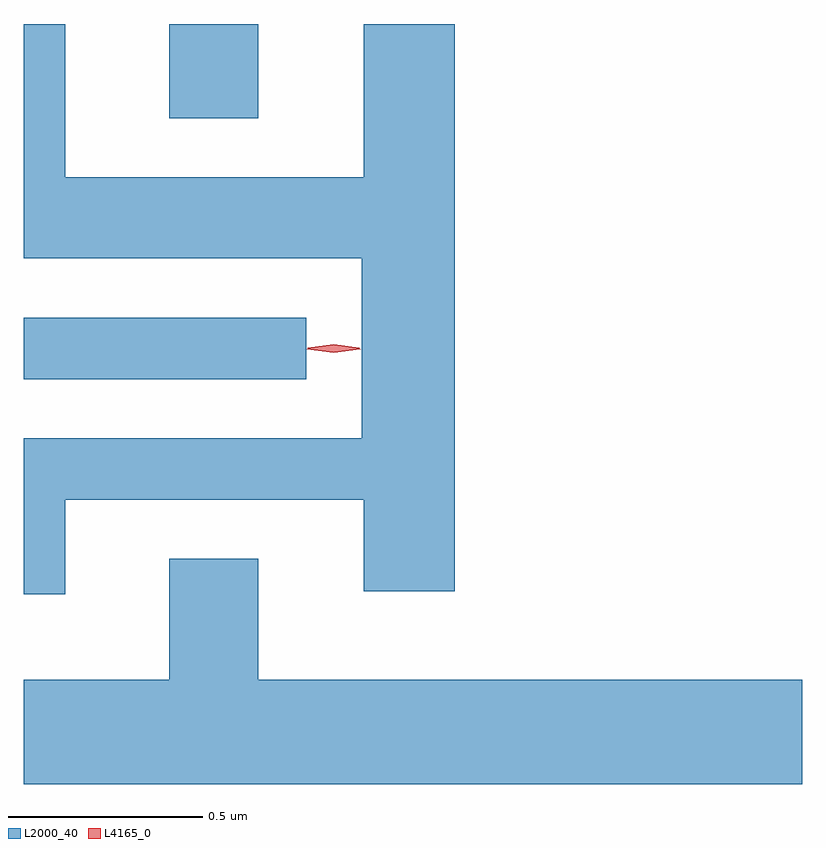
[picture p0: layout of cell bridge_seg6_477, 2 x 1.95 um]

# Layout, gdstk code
import gdstk
lib = gdstk.Library(unit=1e-6, precision=1e-09)
def R(c, l, rs):  # rectangles x0, y0, x1, y1
    for r in rs: c.add(gdstk.rectangle(r[:2], r[2:], *l))
def P(c, l, *ps):  # polygons
    for p in ps: c.add(gdstk.Polygon(p, *l))
L2000_40 = (2000, 40)
L4165_0 = (4165, 0)

bridge_seg6_477 = lib.new_cell('bridge_seg6_477')
R(bridge_seg6_477, L2000_40, [(662.087,1606.576,662.813,1606.734), (662.461,1607.246,662.689,1607.488)])
P(bridge_seg6_477, L2000_40, [(662.194,1606.266),(662.961,1606.266),(662.961,1606.031),(663.194,1606.031),(663.194,1607.488),(662.961,1607.488),(662.961,1607.094),(662.194,1607.094),(662.194,1607.488),(662.087,1607.488),(662.087,1606.886),(662.956,1606.886),(662.956,1606.424),(662.087,1606.424),(662.087,1606.023),(662.194,1606.023)],
  [(664.087,1605.804),(662.689,1605.804),(662.689,1606.114),(662.461,1606.114),(662.461,1605.804),(662.087,1605.804),(662.087,1605.536),(664.087,1605.536)])
P(bridge_seg6_477, L4165_0, [(662.883,1606.643),(662.814,1606.652),(662.813,1606.653),(662.814,1606.653),(662.883,1606.663),(662.952,1606.653),(662.953,1606.653),(662.952,1606.652)],
  [(662.883,1606.645),(662.817,1606.654),(662.817,1606.655),(662.817,1606.656),(662.883,1606.665),(662.949,1606.656),(662.95,1606.655),(662.949,1606.654)])

lib.write_gds('bridge_seg6_477.gds')
